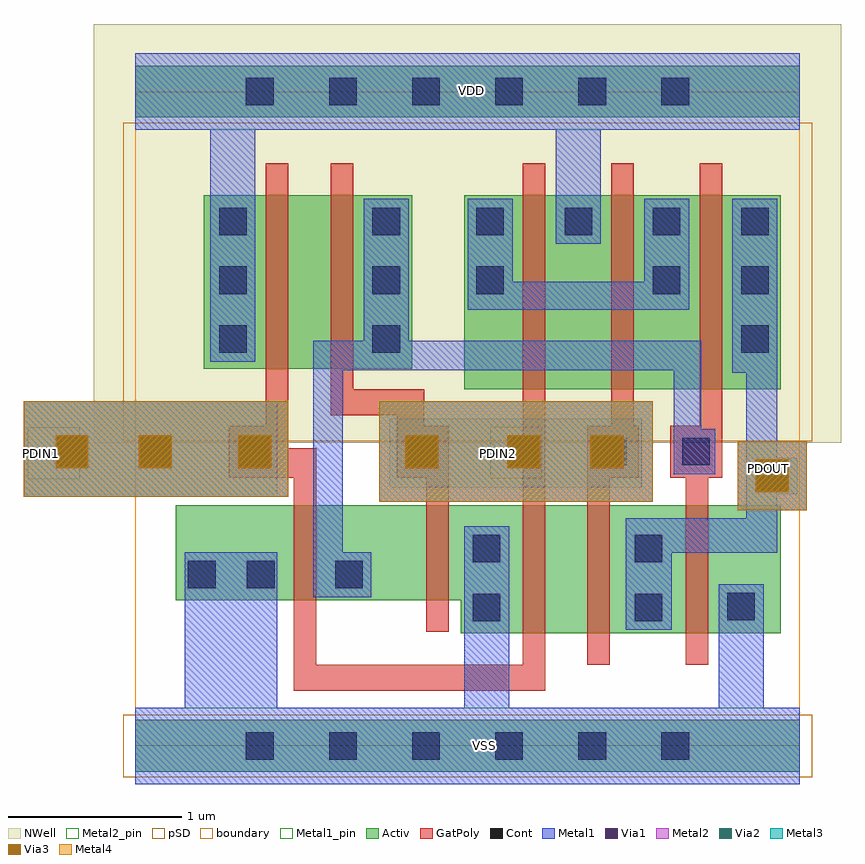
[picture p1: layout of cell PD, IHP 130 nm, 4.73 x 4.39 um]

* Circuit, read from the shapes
.subckt PD PDIN1 PDIN2 PDOUT VDD VSS
XM1 n1 PDIN1 VSS VSS sg13_lv_nmos w=0.55u l=0.13u
XM2 VSS PDIN2 n1 VSS sg13_lv_nmos w=0.55u l=0.13u
XM3 n2 PDIN1 VSS VSS sg13_lv_nmos w=0.74u l=0.13u
XM4 PDOUT PDIN2 n2 VSS sg13_lv_nmos w=0.74u l=0.13u
XM5 VSS n1 PDOUT VSS sg13_lv_nmos w=0.74u l=0.13u
XM6 n3 PDIN1 VDD VDD sg13_lv_pmos w=1u l=0.13u
XM7 n1 PDIN2 n3 VDD sg13_lv_pmos w=1u l=0.13u
XM8 VDD PDIN1 n4 VDD sg13_lv_pmos w=1.12u l=0.13u
XM9 n4 PDIN2 VDD VDD sg13_lv_pmos w=1.12u l=0.13u
XM10 PDOUT n1 n4 VDD sg13_lv_pmos w=1.12u l=0.13u
.ends

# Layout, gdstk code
import gdstk
lib = gdstk.Library(unit=1e-6, precision=5e-09)
def R(c, l, rs):  # rectangles x0, y0, x1, y1
    for r in rs: c.add(gdstk.rectangle(r[:2], r[2:], *l))
def A(c, l, x, y, w, h, nx, ny, dx, dy):  # array of equal rectangles
    R(c, l, [(x+i*dx, y+j*dy, x+i*dx+w, y+j*dy+h) for i in range(nx) for j in range(ny)])
def P(c, l, *ps):  # polygons
    for p in ps: c.add(gdstk.Polygon(p, *l))
Activ = (1, 0)
GatPoly = (5, 0)
Cont = (6, 0)
Metal1 = (8, 0)
Metal1_pin = (8, 2)
Metal2 = (10, 0)
Metal2_pin = (10, 2)
pSD = (14, 0)
Via1 = (19, 0)
Via2 = (29, 0)
Metal3 = (30, 0)
NWell = (31, 0)
Via3 = (49, 0)
Metal4 = (50, 0)
boundary = (189, 4)

sg13g2_xor2_1_1 = lib.new_cell('sg13g2_xor2_1$1')
R(sg13g2_xor2_1_1, Activ, [(27.59,55.31,31.43,55.61), (29.49,57.52,31.32,58.64), (27.985,57.64,29.19,58.64), (27.59,59.09,31.43,59.39)])
P(sg13g2_xor2_1_1, Activ, [(29.47,56.11),(29.47,56.3),(27.825,56.3),(27.825,56.85),(31.32,56.85),(31.32,56.11)])
P(sg13g2_xor2_1_1, GatPoly, [(29.27,56.12),(29.27,57.01),(29.1,57.01),(29.1,57.37),(28.72,57.37),(28.72,58.825),(28.85,58.825),(28.85,57.52),(29.26,57.52),(29.26,57.31),(29.4,57.31),(29.4,56.12)],
  [(30.2,55.93),(30.2,57.31),(30.34,57.31),(30.34,58.825),(30.47,58.825),(30.47,57.31),(30.5,57.31),(30.5,57.01),(30.33,57.01),(30.33,55.93)],
  [(30.77,55.93),(30.77,57.01),(30.68,57.01),(30.68,57.31),(30.85,57.31),(30.85,58.825),(30.98,58.825),(30.98,57.01),(30.9,57.01),(30.9,55.93)],
  [(28.505,55.78),(28.505,57.01),(28.13,57.01),(28.13,57.31),(28.345,57.31),(28.345,58.825),(28.475,58.825),(28.475,57.18),(28.635,57.18),(28.635,55.93),(29.83,55.93),(29.83,58.825),(29.96,58.825),(29.96,55.78)])
A(sg13g2_xor2_1_1, Cont, 29.67, 55.38, 0.16, 0.16, 3, 1, 0.48, 0)
A(sg13g2_xor2_1_1, Cont, 28.075, 57.73, 0.16, 0.16, 1, 3, 0, 0.34)
A(sg13g2_xor2_1_1, Cont, 28.96, 57.73, 0.16, 0.16, 1, 3, 0, 0.34)
A(sg13g2_xor2_1_1, Cont, 29.56, 58.41, 0.16, 0.16, 4, 1, 0.51, 0)
A(sg13g2_xor2_1_1, Cont, 28.23, 59.16, 0.16, 0.16, 6, 1, 0.48, 0)
R(sg13g2_xor2_1_1, Cont, [(28.23,55.38,28.39,55.54), (28.71,55.38,28.87,55.54), (29.54,56.18,29.7,56.34), (30.475,56.18,30.635,56.34), (31.01,56.185,31.17,56.345), (27.895,56.37,28.055,56.53), (28.235,56.37,28.395,56.53), (28.745,56.37,28.905,56.53), (29.54,56.52,29.7,56.68), (30.475,56.52,30.635,56.68), (28.2,57.08,28.36,57.24), (29.17,57.08,29.33,57.24), (30.27,57.08,30.43,57.24), (30.75,57.08,30.91,57.24), (31.09,57.73,31.25,57.89), (29.56,58.07,29.72,58.23), (30.58,58.07,30.74,58.23), (31.09,58.07,31.25,58.23)])
R(sg13g2_xor2_1_1, Metal1, [(27.79,57.01,28.41,57.29), (29.12,57.01,30.48,57.29)])
P(sg13g2_xor2_1_1, Metal1, [(29.51,57.98),(29.51,58.62),(29.77,58.62),(29.77,58.14),(30.53,58.14),(30.53,58.62),(30.79,58.62),(30.79,57.98)],
  [(28.025,57.68),(28.025,59.02),(27.59,59.02),(27.59,59.46),(31.43,59.46),(31.43,59.02),(30.28,59.02),(30.28,58.36),(30.02,58.36),(30.02,59.02),(28.285,59.02),(28.285,57.68)],
  [(27.59,55.24),(27.59,55.68),(27.875,55.68),(27.875,56.58),(28.41,56.58),(28.41,55.68),(29.49,55.68),(29.49,56.73),(29.75,56.73),(29.75,55.68),(30.96,55.68),(30.96,56.395),(31.22,56.395),(31.22,55.68),(31.43,55.68),(31.43,55.24)],
  [(30.425,56.13),(30.425,56.775),(31.12,56.775),(31.12,57.615),(31.04,57.615),(31.04,58.62),(31.3,58.62),(31.3,56.575),(30.69,56.575),(30.69,56.13)],
  [(28.62,56.32),(28.62,57.8),(28.91,57.8),(28.91,58.62),(29.17,58.62),(29.17,57.8),(30.86,57.8),(30.86,57.29),(30.94,57.29),(30.94,57.03),(30.7,57.03),(30.7,57.63),(28.79,57.63),(28.79,56.58),(28.955,56.58),(28.955,56.32)])
R(sg13g2_xor2_1_1, Metal1_pin, [(27.59,55.24,31.43,55.68), (27.59,59.02,31.43,59.46)])
R(sg13g2_xor2_1_1, pSD, [(27.52,55.28,31.5,55.64), (27.52,57.22,31.5,59.06)])
R(sg13g2_xor2_1_1, NWell, [(27.35,57.21,31.67,59.63)])
R(sg13g2_xor2_1_1, boundary, [(27.59,55.46,31.43,59.24)])
sg13g2_xor2_1_1.add(gdstk.Label('VDD', (29.89,59.235), layer=8, texttype=25))
sg13g2_xor2_1_1.add(gdstk.Label('VSS', (29.68,55.48), layer=8, texttype=25))

via_stack_23 = lib.new_cell('via_stack$23')
R(via_stack_23, Metal1, [(-0.145,-0.105,0.145,0.105)])
R(via_stack_23, Metal2, [(-0.145,-0.1,0.145,0.1)])
R(via_stack_23, Via1, [(-0.095,-0.095,0.095,0.095)])
R(via_stack_23, Via2, [(-0.095,-0.095,0.095,0.095)])
R(via_stack_23, Metal3, [(-0.145,-0.1,0.145,0.1)])
R(via_stack_23, Via3, [(-0.095,-0.095,0.095,0.095)])
R(via_stack_23, Metal4, [(-0.145,-0.1,0.145,0.1)])

c_pd = lib.new_cell('PD')
A(c_pd, Cont, 28.23, 55.38, 0.16, 0.16, 3, 1, 0.48, 0)
A(c_pd, Cont, 28.23, 59.16, 0.16, 0.16, 5, 1, 0.48, 0)
R(c_pd, Cont, [(30.15,55.38,30.31,55.54), (30.63,55.38,30.79,55.54)])
R(c_pd, Metal1, [(26.945,56.9,28.41,57.45), (29.06,56.955,30.515,57.35)])
R(c_pd, Metal1_pin, [(29.54,55.395,29.67,55.525), (29.465,59.18,29.595,59.31)])
R(c_pd, Metal2, [(31.07,56.82,31.47,57.22), (29,56.87,30.58,57.45), (26.945,56.9,28.475,57.45)])
R(c_pd, Metal2_pin, [(31.175,56.925,31.365,57.115), (26.97,57,27.27,57.3), (29.64,57.005,29.94,57.305)])
R(c_pd, Via1, [(27.13,57.065,27.32,57.255), (27.61,57.065,27.8,57.255), (28.185,57.065,28.375,57.255), (29.15,57.065,29.34,57.255), (29.74,57.065,29.93,57.255), (30.22,57.065,30.41,57.255)])
R(c_pd, Via2, [(27.13,57.065,27.32,57.255), (27.61,57.065,27.8,57.255), (28.185,57.065,28.375,57.255), (29.15,57.065,29.34,57.255), (29.74,57.065,29.93,57.255), (30.22,57.065,30.41,57.255)])
R(c_pd, Metal3, [(31.07,56.82,31.47,57.22), (29,56.87,30.58,57.45), (26.945,56.9,28.475,57.45)])
R(c_pd, Via3, [(27.13,57.065,27.32,57.255), (27.61,57.065,27.8,57.255), (28.185,57.065,28.375,57.255), (29.15,57.065,29.34,57.255), (29.74,57.065,29.93,57.255), (30.22,57.065,30.41,57.255)])
R(c_pd, Metal4, [(31.07,56.82,31.47,57.22), (29,56.87,30.58,57.45), (26.945,56.9,28.475,57.45)])
c_pd.add(gdstk.Reference(sg13g2_xor2_1_1, (0,0)))
c_pd.add(gdstk.Reference(via_stack_23, (31.27,57.02)))
c_pd.add(gdstk.Label('VDD', (29.53,59.245), layer=8, texttype=25))
c_pd.add(gdstk.Label('VSS', (29.605,55.46), layer=8, texttype=25))
c_pd.add(gdstk.Label('PDOUT', (31.25,57.06), layer=10, texttype=25))
c_pd.add(gdstk.Label('PDIN1', (27.05,57.15), layer=10, texttype=25))
c_pd.add(gdstk.Label('PDIN2', (29.69,57.15), layer=10, texttype=25))

lib.write_gds('PD.gds')
